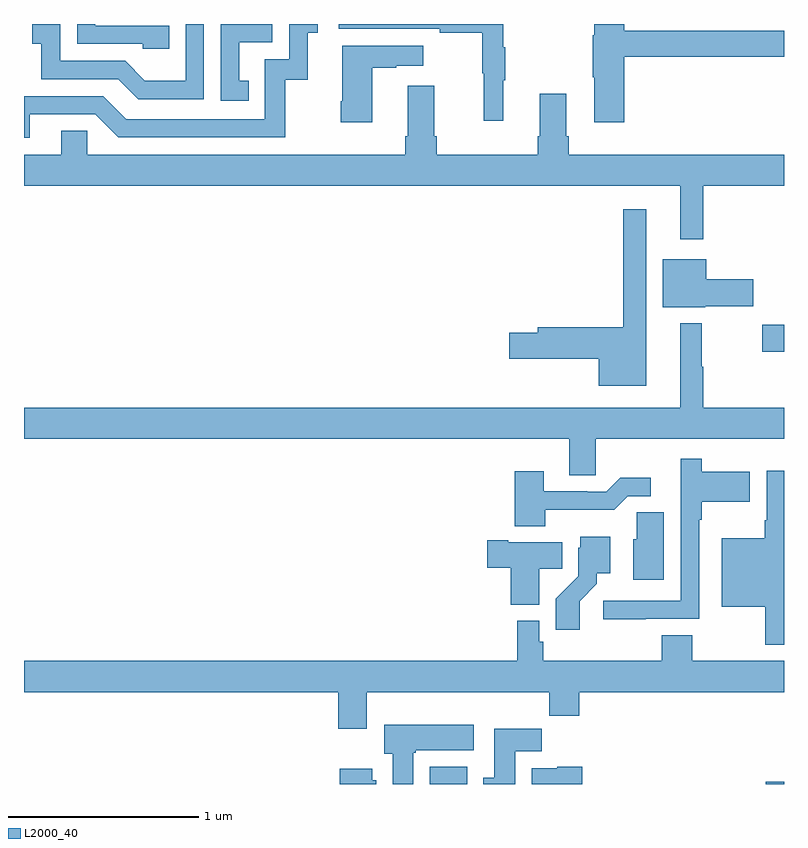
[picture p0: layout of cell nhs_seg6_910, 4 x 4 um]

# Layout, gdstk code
import gdstk
lib = gdstk.Library(unit=1e-6, precision=1e-09)
def R(c, l, rs):  # rectangles x0, y0, x1, y1
    for r in rs: c.add(gdstk.rectangle(r[:2], r[2:], *l))
def P(c, l, *ps):  # polygons
    for p in ps: c.add(gdstk.Polygon(p, *l))
L2000_40 = (2000, 40)

nhs_seg6_910 = lib.new_cell('nhs_seg6_910')
R(nhs_seg6_910, L2000_40, [(169.136,965.5,169.333,965.59), (170.904,965.5,171,965.511), (170.886,967.774,171,967.916)])
P(nhs_seg6_910, L2000_40, [(170.159,969.328),(171,969.328),(171,969.464),(170.159,969.464),(170.159,969.5),(170,969.5),(170,969.441),(169.993,969.441),(169.993,969.22),(170,969.22),(170,968.982),(170.159,968.982)],
  [(168.182,969.201),(168.133,969.201),(168.133,969.405),(168.306,969.405),(168.306,969.5),(168.036,969.5),(168.036,969.096),(168.182,969.096)],
  [(167.946,969.5),(167.85,969.5),(167.85,969.202),(167.636,969.202),(167.532,969.306),(167.19,969.306),(167.19,969.5),(167.043,969.5),(167.043,969.395),(167.092,969.395),(167.092,969.21),(167.495,969.21),(167.6,969.105),(167.946,969.105)],
  [(167.029,969.024),(167.376,969.024),(167.496,968.904),(168.376,968.904),(168.376,969.207),(168.494,969.207),(168.494,969.453),(168.547,969.453),(168.547,969.5),(168.396,969.5),(168.396,969.315),(168.267,969.315),(168.267,969),(167.538,969),(167.418,969.12),(167,969.12),(167,968.901),(167.029,968.901)],
  [(167.765,969.492),(167.376,969.492),(167.376,969.5),(167.28,969.5),(167.28,969.396),(167.625,969.396),(167.625,969.369),(167.765,969.369)],
  [(169.523,969.203),(169.534,969.203),(169.534,969.377),(169.523,969.377),(169.523,969.5),(168.657,969.5),(168.657,969.474),(169.189,969.474),(169.189,969.454),(169.413,969.454),(169.413,969.24),(169.42,969.24),(169.42,968.991),(169.523,968.991)],
  [(168.832,969.271),(168.959,969.271),(168.959,969.281),(169.102,969.281),(169.102,969.385),(168.674,969.385),(168.674,969.094),(168.667,969.094),(168.667,968.982),(168.832,968.982)],
  [(170.575,968.648),(171,968.648),(171,968.812),(169.868,968.812),(169.868,968.908),(169.855,968.908),(169.855,969.133),(169.715,969.133),(169.715,968.908),(169.703,968.908),(169.703,968.812),(169.172,968.812),(169.172,968.908),(169.159,968.908),(169.159,969.175),(169.019,969.175),(169.019,968.908),(169.007,968.908),(169.007,968.812),(167.334,968.812),(167.334,968.939),(167.195,968.939),(167.195,968.812),(167,968.812),(167,968.648),(170.453,968.648),(170.453,968.367),(170.575,968.367)],
  [(170.275,968.524),(170.154,968.524),(170.154,967.904),(169.703,967.904),(169.703,967.874),(169.554,967.874),(169.554,967.739),(170.024,967.739),(170.024,967.595),(170.275,967.595)],
  [(170.586,968.015),(170.839,968.015),(170.839,968.157),(170.59,968.157),(170.59,968.263),(170.363,968.263),(170.363,968.009),(170.586,968.009)],
  [(170.01,967.316),(171,967.316),(171,967.48),(170.575,967.48),(170.575,967.697),(170.567,967.697),(170.567,967.924),(170.453,967.924),(170.453,967.48),(167,967.48),(167,967.316),(169.871,967.316),(169.871,967.126),(170.01,967.126)],
  [(170.273,966.369),(170.553,966.369),(170.553,966.89),(170.566,966.89),(170.566,966.986),(170.821,966.986),(170.821,967.144),(170.566,967.144),(170.566,967.213),(170.456,967.213),(170.456,966.99),(170.457,966.99),(170.457,966.465),(170.049,966.465),(170.049,966.367),(170.273,966.367)],
  [(171,967.15),(170.91,967.15),(170.91,966.889),(170.898,966.889),(170.898,966.793),(170.672,966.793),(170.672,966.434),(170.902,966.434),(170.902,966.234),(171,966.234)],
  [(169.743,966.944),(170.107,966.944),(170.178,967.014),(170.299,967.014),(170.299,967.111),(170.137,967.111),(170.064,967.038),(169.964,967.038),(169.964,967.041),(169.735,967.041),(169.735,967.147),(169.583,967.147),(169.583,966.857),(169.743,966.857)],
  [(170.368,966.929),(170.226,966.929),(170.226,966.789),(170.207,966.789),(170.207,966.576),(170.368,966.576)],
  [(169.924,966.463),(170.014,966.553),(170.014,966.608),(170.086,966.608),(170.086,966.802),(169.928,966.802),(169.928,966.744),(169.917,966.744),(169.917,966.593),(169.798,966.474),(169.798,966.312),(169.924,966.312)],
  [(169.711,966.634),(169.832,966.634),(169.832,966.772),(169.549,966.772),(169.549,966.784),(169.437,966.784),(169.437,966.638),(169.562,966.638),(169.562,966.443),(169.711,966.443)],
  [(168.805,965.984),(169.765,965.984),(169.765,965.86),(169.922,965.86),(169.922,965.984),(171,965.984),(171,966.148),(170.517,966.148),(170.517,966.284),(170.357,966.284),(170.357,966.148),(169.733,966.148),(169.733,966.249),(169.713,966.249),(169.713,966.358),(169.597,966.358),(169.597,966.148),(167,966.148),(167,965.984),(168.653,965.984),(168.653,965.79),(168.805,965.79)],
  [(169.048,965.665),(169.062,965.665),(169.062,965.678),(169.366,965.678),(169.366,965.812),(168.896,965.812),(168.896,965.658),(168.941,965.658),(168.941,965.5),(169.048,965.5)],
  [(169.585,965.672),(169.724,965.672),(169.724,965.791),(169.475,965.791),(169.475,965.532),(169.418,965.532),(169.418,965.5),(169.585,965.5)],
  [(169.937,965.59),(169.806,965.59),(169.806,965.584),(169.673,965.584),(169.673,965.5),(169.937,965.5)],
  [(168.853,965.52),(168.832,965.52),(168.832,965.581),(168.662,965.581),(168.662,965.5),(168.853,965.5)])

lib.write_gds('nhs_seg6_910.gds')
